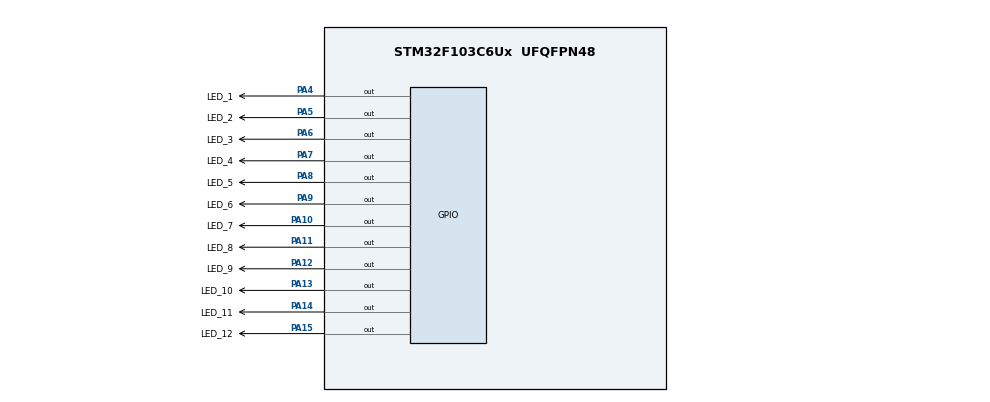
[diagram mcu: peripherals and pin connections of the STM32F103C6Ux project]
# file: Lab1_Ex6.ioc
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Mcu.Family=STM32F1
Mcu.Name=STM32F103C6Ux
Mcu.Package=UFQFPN48
NVIC.PriorityGroup=NVIC_PRIORITYGROUP_4
PA10.GPIO_Label=LED_7
PA10.Signal=GPIO_Output
PA11.GPIO_Label=LED_8
PA11.Signal=GPIO_Output
PA12.GPIO_Label=LED_9
PA12.Signal=GPIO_Output
PA13.GPIO_Label=LED_10
PA13.Signal=GPIO_Output
PA14.GPIO_Label=LED_11
PA14.Signal=GPIO_Output
PA15.GPIO_Label=LED_12
PA15.Signal=GPIO_Output
PA4.GPIO_Label=LED_1
PA4.Signal=GPIO_Output
PA5.GPIO_Label=LED_2
PA5.Signal=GPIO_Output
PA6.GPIO_Label=LED_3
PA6.Signal=GPIO_Output
PA7.GPIO_Label=LED_4
PA7.Signal=GPIO_Output
PA8.GPIO_Label=LED_5
PA8.Signal=GPIO_Output
PA9.GPIO_Label=LED_6
PA9.Signal=GPIO_Output
ProjectManager.HeapSize=0x200
ProjectManager.StackSize=0x400
ProjectManager.TargetToolchain=STM32CubeIDE
RCC.APB1Freq_Value=8000000
RCC.APB2Freq_Value=8000000
VP_SYS_VS_ND.Mode=No_Debug
board=custom

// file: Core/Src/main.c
/* USER CODE BEGIN Header */
/**
  ******************************************************************************
  * @file           : main.c
  * @brief          : Main program body
  ******************************************************************************
  * @attention
  *
  * <h2><center>&copy; Copyright (c) 2022 STMicroelectronics.
  * All rights reserved.</center></h2>
  *
  * This software component is licensed by ST under BSD 3-Clause license,
  * the "License"; You may not use this file except in compliance with the
  * License. You may obtain a copy of the License at:
  *                        opensource.org/licenses/BSD-3-Clause
  *
  ******************************************************************************
  */
/* USER CODE END Header */
#include "main.h"

void SystemClock_Config(void);
static void MX_GPIO_Init(void);

/* USER CODE BEGIN 0 */
void turn_led_on(int);
void clearAllClock(void);
void setNumberOnClock(int);
void clock(int, int, int);
/* USER CODE END 0 */

int main(void)
{

  /* MCU Configuration--------------------------------------------------------*/

  /* Reset of all peripherals, Initializes the Flash interface and the Systick. */
  HAL_Init();

  /* Configure the system clock */
  SystemClock_Config();

  /* Initialize all configured peripherals */
  MX_GPIO_Init();

  /* Infinite loop */
  /* USER CODE BEGIN WHILE */

  //khoi tao gia tri thoi gian ban dau
  //1<= hour <=12; 0<= min, sec <= 59
  int hour = 11, min = 53, sec = 36;
  while (1)
  {
	  clearAllClock();
	  clock(hour,min,sec);		//use to display time

	  sec = sec + 1;
	  if(sec >= 60) {
		  sec = 0;
		  min = min + 1;
	  }

	  if(min >= 60){
		  min = 0;
		  hour = hour + 1;
	  }

	  if(hour > 12){
		  hour = 1;
	  }

	  HAL_Delay(1000);
  }
  /* USER CODE END 3 */
}

void SystemClock_Config(void)
{
  RCC_OscInitTypeDef RCC_OscInitStruct = {0};
  RCC_ClkInitTypeDef RCC_ClkInitStruct = {0};

  /** Initializes the RCC Oscillators according to the specified parameters
  * in the RCC_OscInitTypeDef structure.
  */
  RCC_OscInitStruct.OscillatorType = RCC_OSCILLATORTYPE_HSI;
  RCC_OscInitStruct.HSIState = RCC_HSI_ON;
  RCC_OscInitStruct.HSICalibrationValue = RCC_HSICALIBRATION_DEFAULT;
  RCC_OscInitStruct.PLL.PLLState = RCC_PLL_NONE;
  if (HAL_RCC_OscConfig(&RCC_OscInitStruct) != HAL_OK)
  {
    Error_Handler();
  }
  /** Initializes the CPU, AHB and APB buses clocks
  */
  RCC_ClkInitStruct.ClockType = RCC_CLOCKTYPE_HCLK|RCC_CLOCKTYPE_SYSCLK
                              |RCC_CLOCKTYPE_PCLK1|RCC_CLOCKTYPE_PCLK2;
  RCC_ClkInitStruct.SYSCLKSource = RCC_SYSCLKSOURCE_HSI;
  RCC_ClkInitStruct.AHBCLKDivider = RCC_SYSCLK_DIV1;
  RCC_ClkInitStruct.APB1CLKDivider = RCC_HCLK_DIV1;
  RCC_ClkInitStruct.APB2CLKDivider = RCC_HCLK_DIV1;

  if (HAL_RCC_ClockConfig(&RCC_ClkInitStruct, FLASH_LATENCY_0) != HAL_OK)
  {
    Error_Handler();
  }
}

static void MX_GPIO_Init(void)
{
  GPIO_InitTypeDef GPIO_InitStruct = {0};

  /* GPIO Ports Clock Enable */
  __HAL_RCC_GPIOA_CLK_ENABLE();

  /*Configure GPIO pin Output Level */
  HAL_GPIO_WritePin(GPIOA, LED_1_Pin|LED_2_Pin|LED_3_Pin|LED_4_Pin
                          |LED_5_Pin|LED_6_Pin|LED_7_Pin|LED_8_Pin
                          |LED_9_Pin|LED_10_Pin|LED_11_Pin|LED_12_Pin, GPIO_PIN_RESET);

  /*Configure GPIO pins : LED_1_Pin LED_2_Pin LED_3_Pin LED_4_Pin
                           LED_5_Pin LED_6_Pin LED_7_Pin LED_8_Pin
                           LED_9_Pin LED_10_Pin LED_11_Pin LED_12_Pin */
  GPIO_InitStruct.Pin = LED_1_Pin|LED_2_Pin|LED_3_Pin|LED_4_Pin
                          |LED_5_Pin|LED_6_Pin|LED_7_Pin|LED_8_Pin
                          |LED_9_Pin|LED_10_Pin|LED_11_Pin|LED_12_Pin;
  GPIO_InitStruct.Mode = GPIO_MODE_OUTPUT_PP;
  GPIO_InitStruct.Pull = GPIO_NOPULL;
  GPIO_InitStruct.Speed = GPIO_SPEED_FREQ_LOW;
  HAL_GPIO_Init(GPIOA, &GPIO_InitStruct);

}

/* USER CODE BEGIN 4 */
void clearAllClock(void){		//set all pin to 1 so all led will off
	HAL_GPIO_WritePin(LED_1_GPIO_Port, LED_1_Pin, GPIO_PIN_SET);
	HAL_GPIO_WritePin(LED_2_GPIO_Port, LED_2_Pin, GPIO_PIN_SET);
	HAL_GPIO_WritePin(LED_3_GPIO_Port, LED_3_Pin, GPIO_PIN_SET);
	HAL_GPIO_WritePin(LED_4_GPIO_Port, LED_4_Pin, GPIO_PIN_SET);
	HAL_GPIO_WritePin(LED_5_GPIO_Port, LED_5_Pin, GPIO_PIN_SET);
	HAL_GPIO_WritePin(LED_6_GPIO_Port, LED_6_Pin, GPIO_PIN_SET);
	HAL_GPIO_WritePin(LED_7_GPIO_Port, LED_7_Pin, GPIO_PIN_SET);
	HAL_GPIO_WritePin(LED_8_GPIO_Port, LED_8_Pin, GPIO_PIN_SET);
	HAL_GPIO_WritePin(LED_9_GPIO_Port, LED_9_Pin, GPIO_PIN_SET);
	HAL_GPIO_WritePin(LED_10_GPIO_Port, LED_10_Pin, GPIO_PIN_SET);
	HAL_GPIO_WritePin(LED_11_GPIO_Port, LED_11_Pin, GPIO_PIN_SET);
	HAL_GPIO_WritePin(LED_12_GPIO_Port, LED_12_Pin, GPIO_PIN_SET);
}

//this function set on a led and set off another led that beyond that led
void turn_led_on(int num){
	switch(num)
	{
	case 1:
		HAL_GPIO_WritePin(LED_1_GPIO_Port, LED_1_Pin, GPIO_PIN_RESET);
		HAL_GPIO_WritePin(LED_12_GPIO_Port, LED_12_Pin, GPIO_PIN_SET);
		break;
	case 2:
			HAL_GPIO_WritePin(LED_1_GPIO_Port, LED_1_Pin, GPIO_PIN_SET);
			HAL_GPIO_WritePin(LED_2_GPIO_Port, LED_2_Pin, GPIO_PIN_RESET);
			break;
		case 3:
			HAL_GPIO_WritePin(LED_2_GPIO_Port, LED_2_Pin, GPIO_PIN_SET);
			HAL_GPIO_WritePin(LED_3_GPIO_Port, LED_3_Pin, GPIO_PIN_RESET);
			break;
		case 4:
			HAL_GPIO_WritePin(LED_3_GPIO_Port, LED_3_Pin, GPIO_PIN_SET);
			HAL_GPIO_WritePin(LED_4_GPIO_Port, LED_4_Pin, GPIO_PIN_RESET);
			break;
		case 5:
			HAL_GPIO_WritePin(LED_4_GPIO_Port, LED_4_Pin, GPIO_PIN_SET);
			HAL_GPIO_WritePin(LED_5_GPIO_Port, LED_5_Pin, GPIO_PIN_RESET);
			break;
		case 6:
			HAL_GPIO_WritePin(LED_5_GPIO_Port, LED_5_Pin, GPIO_PIN_SET);
			HAL_GPIO_WritePin(LED_6_GPIO_Port, LED_6_Pin, GPIO_PIN_RESET);
			break;
		case 7:
			HAL_GPIO_WritePin(LED_6_GPIO_Port, LED_6_Pin, GPIO_PIN_SET);
			HAL_GPIO_WritePin(LED_7_GPIO_Port, LED_7_Pin, GPIO_PIN_RESET);
			break;
		case 8:
			HAL_GPIO_WritePin(LED_7_GPIO_Port, LED_7_Pin, GPIO_PIN_SET);
			HAL_GPIO_WritePin(LED_8_GPIO_Port, LED_8_Pin, GPIO_PIN_RESET);
			break;
		case 9:
			HAL_GPIO_WritePin(LED_8_GPIO_Port, LED_8_Pin, GPIO_PIN_SET);
			HAL_GPIO_WritePin(LED_9_GPIO_Port, LED_9_Pin, GPIO_PIN_RESET);
			break;
		case 10:
			HAL_GPIO_WritePin(LED_9_GPIO_Port, LED_9_Pin, GPIO_PIN_SET);
			HAL_GPIO_WritePin(LED_10_GPIO_Port, LED_10_Pin, GPIO_PIN_RESET);
			break;
		case 11:
			HAL_GPIO_WritePin(LED_10_GPIO_Port, LED_10_Pin, GPIO_PIN_SET);
			HAL_GPIO_WritePin(LED_11_GPIO_Port, LED_11_Pin, GPIO_PIN_RESET);
			break;
		case 12:
			HAL_GPIO_WritePin(LED_11_GPIO_Port, LED_11_Pin, GPIO_PIN_SET);
			HAL_GPIO_WritePin(LED_12_GPIO_Port, LED_12_Pin, GPIO_PIN_RESET);
			break;
	}

}
void setNumberOnClock(int num){		//set the led that correspond to number on
	switch(num)
		{
		case 1:
			HAL_GPIO_WritePin(LED_1_GPIO_Port, LED_1_Pin, GPIO_PIN_RESET);
			break;
		case 2:
				HAL_GPIO_WritePin(LED_2_GPIO_Port, LED_2_Pin, GPIO_PIN_RESET);
				break;
			case 3:
				HAL_GPIO_WritePin(LED_3_GPIO_Port, LED_3_Pin, GPIO_PIN_RESET);
				break;
			case 4:
				HAL_GPIO_WritePin(LED_4_GPIO_Port, LED_4_Pin, GPIO_PIN_RESET);
				break;
			case 5:
				HAL_GPIO_WritePin(LED_5_GPIO_Port, LED_5_Pin, GPIO_PIN_RESET);
				break;
			case 6:
				HAL_GPIO_WritePin(LED_6_GPIO_Port, LED_6_Pin, GPIO_PIN_RESET);
				break;
			case 7:
				HAL_GPIO_WritePin(LED_7_GPIO_Port, LED_7_Pin, GPIO_PIN_RESET);
				break;
			case 8:
				HAL_GPIO_WritePin(LED_8_GPIO_Port, LED_8_Pin, GPIO_PIN_RESET);
				break;
			case 9:
				HAL_GPIO_WritePin(LED_9_GPIO_Port, LED_9_Pin, GPIO_PIN_RESET);
				break;
			case 10:
				HAL_GPIO_WritePin(LED_10_GPIO_Port, LED_10_Pin, GPIO_PIN_RESET);
				break;
			case 11:
				HAL_GPIO_WritePin(LED_11_GPIO_Port, LED_11_Pin, GPIO_PIN_RESET);
				break;
			case 12:
				HAL_GPIO_WritePin(LED_12_GPIO_Port, LED_12_Pin, GPIO_PIN_RESET);
				break;
		}
}
void clearNumberOnClock(int num){	//just check the number and set the led
	switch(num)						//correspond to that pin off
	{
		case 1:
			HAL_GPIO_WritePin(LED_1_GPIO_Port, LED_1_Pin, GPIO_PIN_SET);
			break;
		case 2:
			HAL_GPIO_WritePin(LED_2_GPIO_Port, LED_2_Pin, GPIO_PIN_SET);
			break;
		case 3:
			HAL_GPIO_WritePin(LED_3_GPIO_Port, LED_3_Pin, GPIO_PIN_SET);
			break;
		case 4:
			HAL_GPIO_WritePin(LED_4_GPIO_Port, LED_4_Pin, GPIO_PIN_SET);
			break;
		case 5:
			HAL_GPIO_WritePin(LED_5_GPIO_Port, LED_5_Pin, GPIO_PIN_SET);
			break;
		case 6:
			HAL_GPIO_WritePin(LED_6_GPIO_Port, LED_6_Pin, GPIO_PIN_SET);
			break;
		case 7:
			HAL_GPIO_WritePin(LED_7_GPIO_Port, LED_7_Pin, GPIO_PIN_SET);
			break;
		case 8:
			HAL_GPIO_WritePin(LED_8_GPIO_Port, LED_8_Pin, GPIO_PIN_SET);
			break;
		case 9:
			HAL_GPIO_WritePin(LED_9_GPIO_Port, LED_9_Pin, GPIO_PIN_SET);
			break;
		case 10:
			HAL_GPIO_WritePin(LED_10_GPIO_Port, LED_10_Pin, GPIO_PIN_SET);
			break;
		case 11:
			HAL_GPIO_WritePin(LED_11_GPIO_Port, LED_11_Pin, GPIO_PIN_SET);
			break;
		case 12:
			HAL_GPIO_WritePin(LED_12_GPIO_Port, LED_12_Pin, GPIO_PIN_SET);
			break;
	}
}
void clock(int hour, int minute, int second){
	minute = minute/5;			//minute and second run from 0 to 59
	second = second/5;			//but we have 12 led so we divide by 5 and round down
	switch(hour)
	{
	case 1:
		HAL_GPIO_WritePin(LED_1_GPIO_Port, LED_1_Pin, GPIO_PIN_RESET);
		break;
	case 2:
		HAL_GPIO_WritePin(LED_2_GPIO_Port, LED_2_Pin, GPIO_PIN_RESET);
		break;
	case 3:
		HAL_GPIO_WritePin(LED_3_GPIO_Port, LED_3_Pin, GPIO_PIN_RESET);
		break;
	case 4:
		HAL_GPIO_WritePin(LED_4_GPIO_Port, LED_4_Pin, GPIO_PIN_RESET);
		break;
	case 5:
		HAL_GPIO_WritePin(LED_5_GPIO_Port, LED_5_Pin, GPIO_PIN_RESET);
		break;
	case 6:
		HAL_GPIO_WritePin(LED_6_GPIO_Port, LED_6_Pin, GPIO_PIN_RESET);
		break;
	case 7:
		HAL_GPIO_WritePin(LED_7_GPIO_Port, LED_7_Pin, GPIO_PIN_RESET);
		break;
	case 8:
		HAL_GPIO_WritePin(LED_8_GPIO_Port, LED_8_Pin, GPIO_PIN_RESET);
		break;
	case 9:
		HAL_GPIO_WritePin(LED_9_GPIO_Port, LED_9_Pin, GPIO_PIN_RESET);
		break;
	case 10:
		HAL_GPIO_WritePin(LED_10_GPIO_Port, LED_10_Pin, GPIO_PIN_RESET);
		break;
	case 11:
		HAL_GPIO_WritePin(LED_11_GPIO_Port, LED_11_Pin, GPIO_PIN_RESET);
		break;
	case 12:
		HAL_GPIO_WritePin(LED_12_GPIO_Port, LED_12_Pin, GPIO_PIN_RESET);
		break;
	}
	switch(minute)
		{
		case 1:
			HAL_GPIO_WritePin(LED_1_GPIO_Port, LED_1_Pin, GPIO_PIN_RESET);
			break;
		case 2:
			HAL_GPIO_WritePin(LED_2_GPIO_Port, LED_2_Pin, GPIO_PIN_RESET);
			break;
		case 3:
			HAL_GPIO_WritePin(LED_3_GPIO_Port, LED_3_Pin, GPIO_PIN_RESET);
			break;
		case 4:
			HAL_GPIO_WritePin(LED_4_GPIO_Port, LED_4_Pin, GPIO_PIN_RESET);
			break;
		case 5:
			HAL_GPIO_WritePin(LED_5_GPIO_Port, LED_5_Pin, GPIO_PIN_RESET);
			break;
		case 6:
			HAL_GPIO_WritePin(LED_6_GPIO_Port, LED_6_Pin, GPIO_PIN_RESET);
			break;
		case 7:
			HAL_GPIO_WritePin(LED_7_GPIO_Port, LED_7_Pin, GPIO_PIN_RESET);
			break;
		case 8:
			HAL_GPIO_WritePin(LED_8_GPIO_Port, LED_8_Pin, GPIO_PIN_RESET);
			break;
		case 9:
			HAL_GPIO_WritePin(LED_9_GPIO_Port, LED_9_Pin, GPIO_PIN_RESET);
			break;
		case 10:
			HAL_GPIO_WritePin(LED_10_GPIO_Port, LED_10_Pin, GPIO_PIN_RESET);
			break;
		case 11:
			HAL_GPIO_WritePin(LED_11_GPIO_Port, LED_11_Pin, GPIO_PIN_RESET);
			break;
		case 0:
			HAL_GPIO_WritePin(LED_12_GPIO_Port, LED_12_Pin, GPIO_PIN_RESET);
			break;
		}
	switch(second)
		{
		case 1:
			HAL_GPIO_WritePin(LED_1_GPIO_Port, LED_1_Pin, GPIO_PIN_RESET);
			break;
		case 2:
			HAL_GPIO_WritePin(LED_2_GPIO_Port, LED_2_Pin, GPIO_PIN_RESET);
			break;
		case 3:
			HAL_GPIO_WritePin(LED_3_GPIO_Port, LED_3_Pin, GPIO_PIN_RESET);
			break;
		case 4:
			HAL_GPIO_WritePin(LED_4_GPIO_Port, LED_4_Pin, GPIO_PIN_RESET);
			break;
		case 5:
			HAL_GPIO_WritePin(LED_5_GPIO_Port, LED_5_Pin, GPIO_PIN_RESET);
			break;
		case 6:
			HAL_GPIO_WritePin(LED_6_GPIO_Port, LED_6_Pin, GPIO_PIN_RESET);
			break;
		case 7:
			HAL_GPIO_WritePin(LED_7_GPIO_Port, LED_7_Pin, GPIO_PIN_RESET);
			break;
		case 8:
			HAL_GPIO_WritePin(LED_8_GPIO_Port, LED_8_Pin, GPIO_PIN_RESET);
			break;
		case 9:
			HAL_GPIO_WritePin(LED_9_GPIO_Port, LED_9_Pin, GPIO_PIN_RESET);
			break;
		case 10:
			HAL_GPIO_WritePin(LED_10_GPIO_Port, LED_10_Pin, GPIO_PIN_RESET);
			break;
		case 11:
			HAL_GPIO_WritePin(LED_11_GPIO_Port, LED_11_Pin, GPIO_PIN_RESET);
			break;
		case 0:
			HAL_GPIO_WritePin(LED_12_GPIO_Port, LED_12_Pin, GPIO_PIN_RESET);
			break;
		}
}

/* USER CODE END 4 */

void Error_Handler(void)
{
  __disable_irq();
  while (1)
  {
  }
}

/************************ (C) COPYRIGHT STMicroelectronics *****END OF FILE****/
